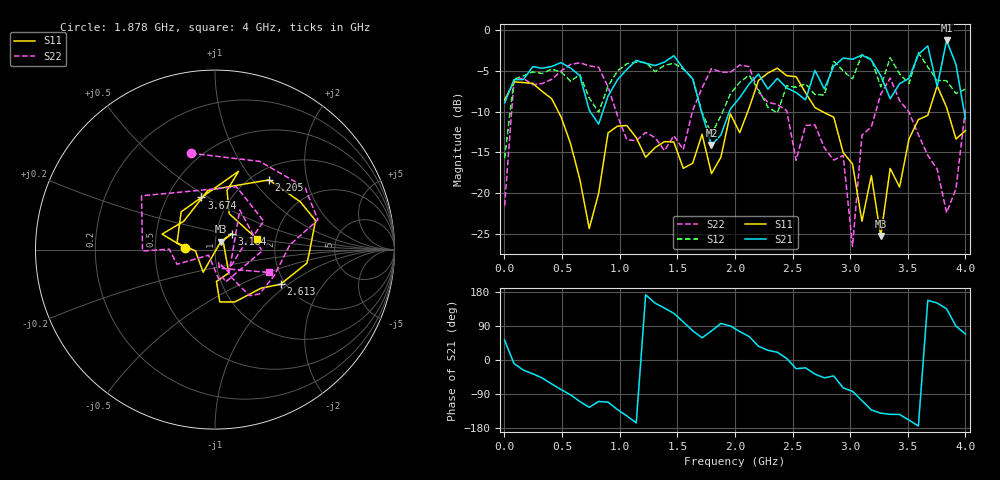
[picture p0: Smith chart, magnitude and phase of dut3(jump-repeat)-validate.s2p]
!Created with skrf (http://scikit-rf.org).
# GHz S DB R 50.0
!freq dBS11 angS11 dBS21 angS21 dBS12 angS12 dBS22 angS22
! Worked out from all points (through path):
!   50 points, 1 MHz to 4 GHz, reference 50 ohm
!   highest |S21| = -1.28 dB at 3.837 GHz (marker M1); lowest = -14.1 dB at 1.796 GHz (marker M2)
!   lowest |S11| = -25.2 dB at 3.265 GHz (marker M3), VSWR 1.12, Z = 53.1 + j4.7 ohm
!   |S11| at or under -10 dB: 467.4 MHz to 2.111 GHz (1.643 GHz wide, 127 % of centre); 2.76 GHz to 3.684 GHz (924.2 MHz wide, 28.7 % of centre); 3.848 GHz to end of sweep
!   |S22| runs from -26.5 to -4.0 dB; largest |S21 - S12| = 0.39
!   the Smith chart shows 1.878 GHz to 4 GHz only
!   S11 on the Smith chart (normalised r, x): 1.878 GHz: 0.72, +0.01; 2.205 GHz: 1.19, +1.21; 2.613 GHz: 1.88, -0.88; 3.184 GHz: 1.18, +0.21; 3.674 GHz: 0.73, +0.47; 4 GHz: 1.60, +0.20
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0.001  -8.56 -156.6  -8.94 52.2  -15.73 -24.7  -21.52 168.9
0.08261224  -6.35 160.5  -6.08 -9.4  -6.00 -10.6  -6.09 164.6
0.4906735  -10.64 48.8  -3.99 -78.1  -5.14 -74.8  -5.04 82.8
0.7355102  -24.31 -129.7  -9.82 -124.9  -8.31 -140.2  -4.39 -5.2
0.9803469  -11.77 10.6  -6.10 -130.7  -5.01 -126.3  -10.48 -65.8
1.388408  -13.67 -137.3  -3.93 137.1  -4.33 136.4  -14.76 -122.8
1.796469  -17.59 55.2  -14.08 76.6  -12.72 82.4  -4.74 129.2
1.878082  -15.59 177.1  -12.86 96.4  -10.52 99.8  -5.15 103.9
2.041306  -12.57 137.9  -8.29 75.1  -6.40 63.5  -4.30 34.8
2.204531  -6.17 52.3  -5.40 36.4  -7.32 33.8  -7.59 3.5
2.449367  -5.59 -2.3  -7.10 4.0  -6.85 -3.4  -9.87 -53.2
2.612592  -7.68 -27.9  -8.56 -20.7  -6.60 -10.0  -11.69 58.0
2.694204  -9.50 -39.9  -4.95 -37.3  -7.90 -17.4  -11.62 -1.7
2.939041  -15.00 -87.4  -3.44 -73.5  -5.00 -66.0  -15.37 -82.2
3.020653  -16.42 -59.4  -3.59 -82.8  -5.99 -86.2  -26.47 -139.1
3.183878  -17.82 43.6  -3.68 -131.9  -3.57 -125.7  -11.86 179.5
3.26549  -25.24 53.7  -5.59 -140.4  -6.97 -133.5  -7.87 -178.9
3.347102  -16.95 -117.6  -8.42 -143.4  -3.38 -131.7  -5.89 143.8
3.510327  -13.36 170.1  -5.93 -158.6  -6.56 -179.4  -10.05 30.3
3.673551  -10.46 104.5  -1.96 157.4  -4.52 159.5  -15.34 11.6
3.836776  -9.47 78.5  -1.28 135.0  -6.21 144.3  -22.36 -74.4
4  -12.33 14.0  -10.87 68.8  -7.24 61.6  -9.68 -22.8
